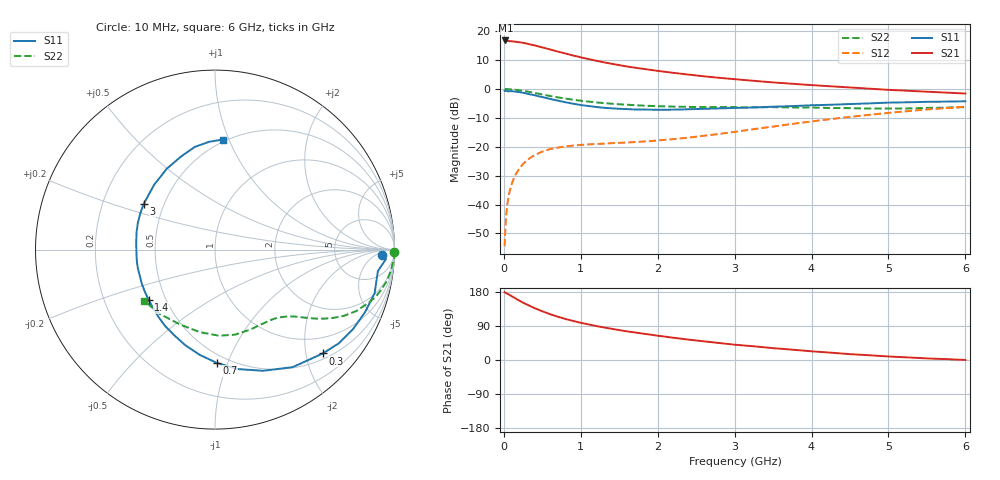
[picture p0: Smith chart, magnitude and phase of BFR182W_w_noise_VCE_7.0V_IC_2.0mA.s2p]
! Infineon Technologies  Discrete & RF Semiconductors
! BFR182W
! VCE =  7.0 V,  IC =  2.0 mA
! Common Emitter S-Parameters:  Jan 2017
# GHz  S  MA  R  50
!  f  S11  S21  S12  S22
! GHz  MAG  ANG  MAG  ANG  MAG  ANG  MAG  ANG
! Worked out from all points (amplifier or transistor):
!   77 points, 10 MHz to 6 GHz, reference 50 ohm
!   highest |S21| = 16.8 dB at 20 MHz (marker M1)
!   |S21| within 3 dB of that: start of sweep to 584.4 MHz
!   unconditionally stable (mu >= 1): 1.775 GHz to 3.127 GHz
!   at 130 MHz: K = 0.09, MSG = 23.7 dB, |S12| = -31.0 dB
!   at 2.2 GHz: K = 1.08, MAG = 9.7 dB, |S12| = -17.3 dB
!   at 6 GHz: K = 0.82, MSG = 2.3 dB, |S12| = -6.1 dB
!   lowest NFmin = 0.85 dB at 450 MHz
!   S11 on the Smith chart (normalised r, x): 10 MHz: 24, -10; 300 MHz: 0.62, -2.34; 700 MHz: 0.44, -0.92; 1.4 GHz: 0.40, -0.29; 3 GHz: 0.39, +0.25; 6 GHz: 0.48, +0.95
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0.01  0.9328 -1.7  6.82 178.9  0.0019 95.1  1 -0.7
0.02  0.9536 -3.2  6.956 177.8  0.004 91.8  1 -1.5
0.03  0.9403 -4.6  6.908 176.6  0.0064 87.3  1 -2.2
0.05  0.9153 -7.5  6.82 174.3  0.0111 84.1  0.9955 -3.5
0.1  0.922 -15.3  6.733 168.6  0.0221 81.8  0.9871 -6.9
0.2  0.8874 -30.0  6.478 156.9  0.0416 73.2  0.9548 -13.3
0.25  0.8654 -37.1  6.339 151.3  0.0504 69.0  0.9346 -16.2
0.3  0.8342 -43.9  6.124 146.3  0.0585 65.4  0.908 -18.9
0.4  0.7851 -56.5  5.722 136.8  0.0721 59.1  0.8585 -23.5
0.5  0.7267 -68.3  5.271 128.5  0.0824 54.2  0.8076 -27.2
0.6  0.6777 -79.2  4.863 121.0  0.0913 50.2  0.7607 -30.0
0.7  0.6313 -89.1  4.466 114.3  0.0966 47.3  0.7198 -32.3
0.9  0.5582 -107.2  3.819 103.0  0.1051 42.9  0.6546 -35.7
1.1  0.5091 -122.8  3.313 93.9  0.11 41.3  0.6074 -38.3
1.4  0.4641 -142.9  2.746 82.4  0.1156 41.6  0.5574 -41.9
1.6  0.45 -154.9  2.464 75.6  0.1189 42.8  0.5369 -44.2
2.1  0.4381 179.9  1.99 61.6  0.1323 48.9  0.5012 -51.4
3  0.4719 147.3  1.485 40.4  0.1812 58.4  0.486 -67.3
3.1  0.4743 144.4  1.446 38.7  0.1897 58.8  0.4851 -69.2
4.1  0.5286 118.6  1.15 21.5  0.2855 57.9  0.4756 -90.0
5.1  0.5859 99.5  0.956 8.3  0.3978 49.4  0.4603 -118.4
6  0.6149 85.9  0.838 0.2  0.4957 38.8  0.4879 -144.3
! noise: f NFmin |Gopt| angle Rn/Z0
0.45  0.85  0.5  30  0.26
0.9  0.99  0.4  58  0.24
1.9  1.74  0.3  142  0.14
2.4  2.11  0.26  164  0.19
